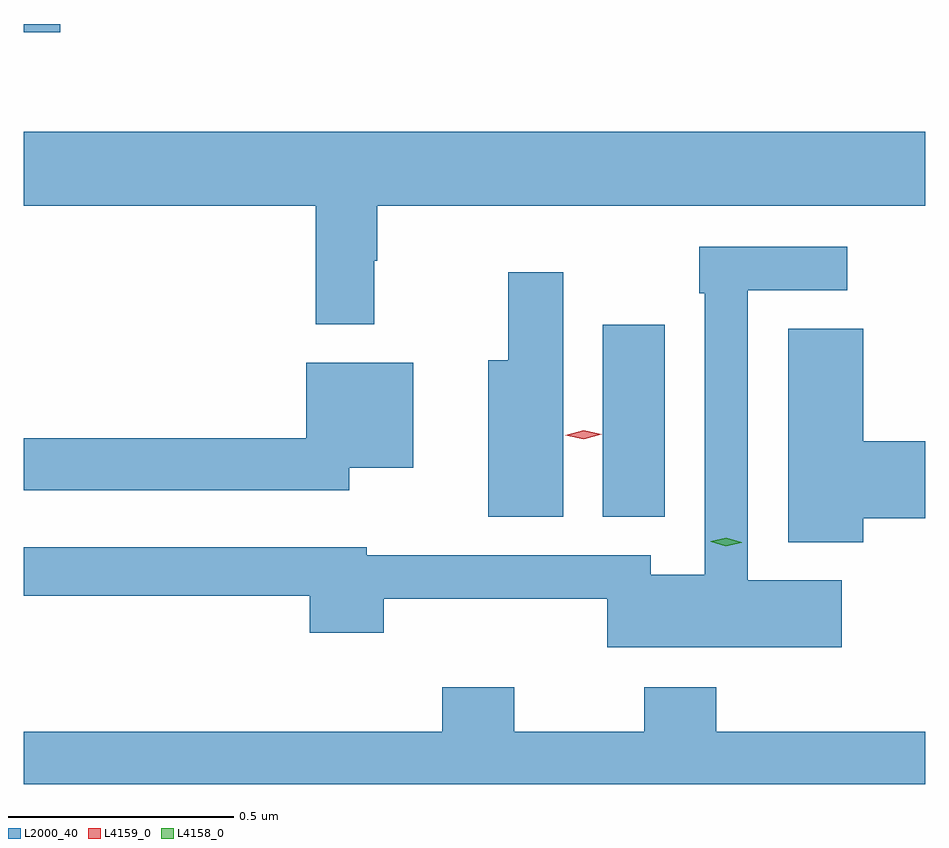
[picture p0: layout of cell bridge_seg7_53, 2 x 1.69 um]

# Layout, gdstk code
import gdstk
lib = gdstk.Library(unit=1e-6, precision=1e-09)
def R(c, l, rs):  # rectangles x0, y0, x1, y1
    for r in rs: c.add(gdstk.rectangle(r[:2], r[2:], *l))
def P(c, l, *ps):  # polygons
    for p in ps: c.add(gdstk.Polygon(p, *l))
L2000_40 = (2000, 40)
L4158_0 = (4158, 0)
L4159_0 = (4159, 0)

bridge_seg7_53 = lib.new_cell('bridge_seg7_53')
R(bridge_seg7_53, L2000_40, [(923.258,998.593,923.395,999.019), (921.973,999.669,922.053,999.687)])
P(bridge_seg7_53, L2000_40, [(922.75,999.161),(922.757,999.161),(922.757,999.284),(923.973,999.284),(923.973,999.448),(921.973,999.448),(921.973,999.284),(922.621,999.284),(922.621,999.021),(922.75,999.021)],
  [(923.788,998.452),(923.58,998.452),(923.58,999.096),(923.8,999.096),(923.8,999.192),(923.472,999.192),(923.472,999.089),(923.484,999.089),(923.484,998.464),(923.364,998.464),(923.364,998.508),(922.734,998.508),(922.734,998.526),(921.973,998.526),(921.973,998.418),(922.607,998.418),(922.607,998.336),(922.772,998.336),(922.772,998.411),(923.268,998.411),(923.268,998.303),(923.788,998.303)],
  [(923.17,999.136),(923.048,999.136),(923.048,998.941),(923.003,998.941),(923.003,998.593),(923.17,998.593)],
  [(923.836,998.59),(923.973,998.59),(923.973,998.761),(923.836,998.761),(923.836,999.011),(923.669,999.011),(923.669,998.537),(923.836,998.537)],
  [(922.695,998.702),(922.837,998.702),(922.837,998.935),(922.599,998.935),(922.599,998.768),(921.973,998.768),(921.973,998.652),(922.695,998.652)],
  [(923.973,998.116),(923.51,998.116),(923.51,998.215),(923.35,998.215),(923.35,998.116),(923.061,998.116),(923.061,998.215),(922.901,998.215),(922.901,998.116),(921.973,998.116),(921.973,998),(923.973,998)])
P(bridge_seg7_53, L4158_0, [(923.531,998.528),(923.497,998.538),(923.497,998.538),(923.497,998.539),(923.532,998.547),(923.566,998.537),(923.566,998.537),(923.566,998.536)])
P(bridge_seg7_53, L4159_0, [(923.215,998.765),(923.174,998.774),(923.174,998.774),(923.174,998.774),(923.215,998.785),(923.256,998.776),(923.256,998.776),(923.256,998.776)])

lib.write_gds('bridge_seg7_53.gds')
